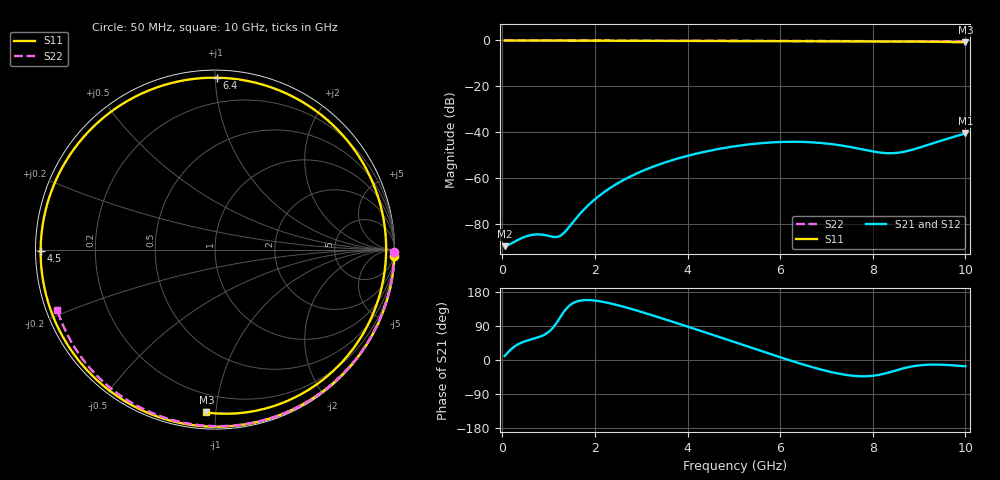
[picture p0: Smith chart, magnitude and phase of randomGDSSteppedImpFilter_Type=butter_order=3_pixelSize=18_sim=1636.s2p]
! freq	dB(S11)	phase(S11)	dB(S12)	phase(S12)
!  dB(S21)	phase(S21)	dB(S22)	phase(S22)
!S-par simulation data
#  GHz  S  DB  R 50
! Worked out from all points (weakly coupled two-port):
!   200 points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, 50 MHz to 10 GHz, reference 50 ohm
!   highest |S21| = -40.46 dB at 10 GHz (marker M1); lowest = -89.5 dB at 50 MHz (marker M2)
!   lowest |S11| = -0.8 dB at 10 GHz (marker M3), VSWR 20.93, Z = 4.53 - j47.2 ohm
!   |S11| at or under -10 dB: nowhere
!   |S22| runs from -0.5 to 0.0 dB; largest |S21 - S12| = 0
!   S11 on the Smith chart (normalised r, x): 50 MHz: 0, -56; 4.5 GHz: 0.01, -0.00; 6.4 GHz: 0.04, +1.01; 10 GHz: 0.09, -0.94
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0.05  -0.00 -2.0  -89.53 10.6  -89.53 10.6  -0.00 -0.9
0.7  -0.03 -28.5  -84.46 57.0  -84.46 57.0  -0.01 -12.9
1.45  -0.07 -58.4  -81.01 143.6  -81.01 143.6  -0.03 -26.4
1.75  -0.09 -70.2  -73.84 157.8  -73.84 157.8  -0.04 -31.8
2.1  -0.11 -83.8  -67.48 155.1  -67.48 155.1  -0.05 -37.9
2.55  -0.13 -101.3  -61.49 142.8  -61.49 142.8  -0.06 -45.8
3.4  -0.18 -134.5  -53.88 111.8  -53.88 111.8  -0.08 -60.2
3.95  -0.21 -156.6  -50.49 90.2  -50.49 90.2  -0.10 -69.3
4.5  -0.25 -179.7  -47.90 68.2  -47.90 68.2  -0.11 -78.1
5.05  -0.29 155.9  -45.97 45.9  -45.97 45.9  -0.13 -86.7
5.4  -0.32 139.6  -45.08 31.6  -45.08 31.6  -0.15 -92.1
5.8  -0.34 120.0  -44.39 15.3  -44.39 15.3  -0.17 -98.2
6.4  -0.37 89.2  -44.11 -8.3  -44.11 -8.3  -0.20 -107.1
6.7  -0.38 73.4  -44.34 -19.1  -44.34 -19.1  -0.22 -111.5
7.1  -0.39 52.1  -45.08 -31.8  -45.08 -31.8  -0.24 -117.4
7.55  -0.40 28.3  -46.51 -41.3  -46.51 -41.3  -0.28 -123.9
7.95  -0.41 7.7  -48.11 -42.2  -48.11 -42.2  -0.31 -129.6
8.35  -0.43 -12.3  -49.08 -32.8  -49.08 -32.8  -0.35 -135.3
8.8  -0.47 -33.9  -47.84 -18.1  -47.84 -18.1  -0.39 -141.8
9.25  -0.54 -55.2  -45.07 -12.2  -45.07 -12.2  -0.44 -148.2
9.65  -0.66 -74.7  -42.54 -13.4  -42.54 -13.4  -0.49 -154.1
10  -0.83 -93.0  -40.46 -16.5  -40.46 -16.5  -0.53 -159.2
